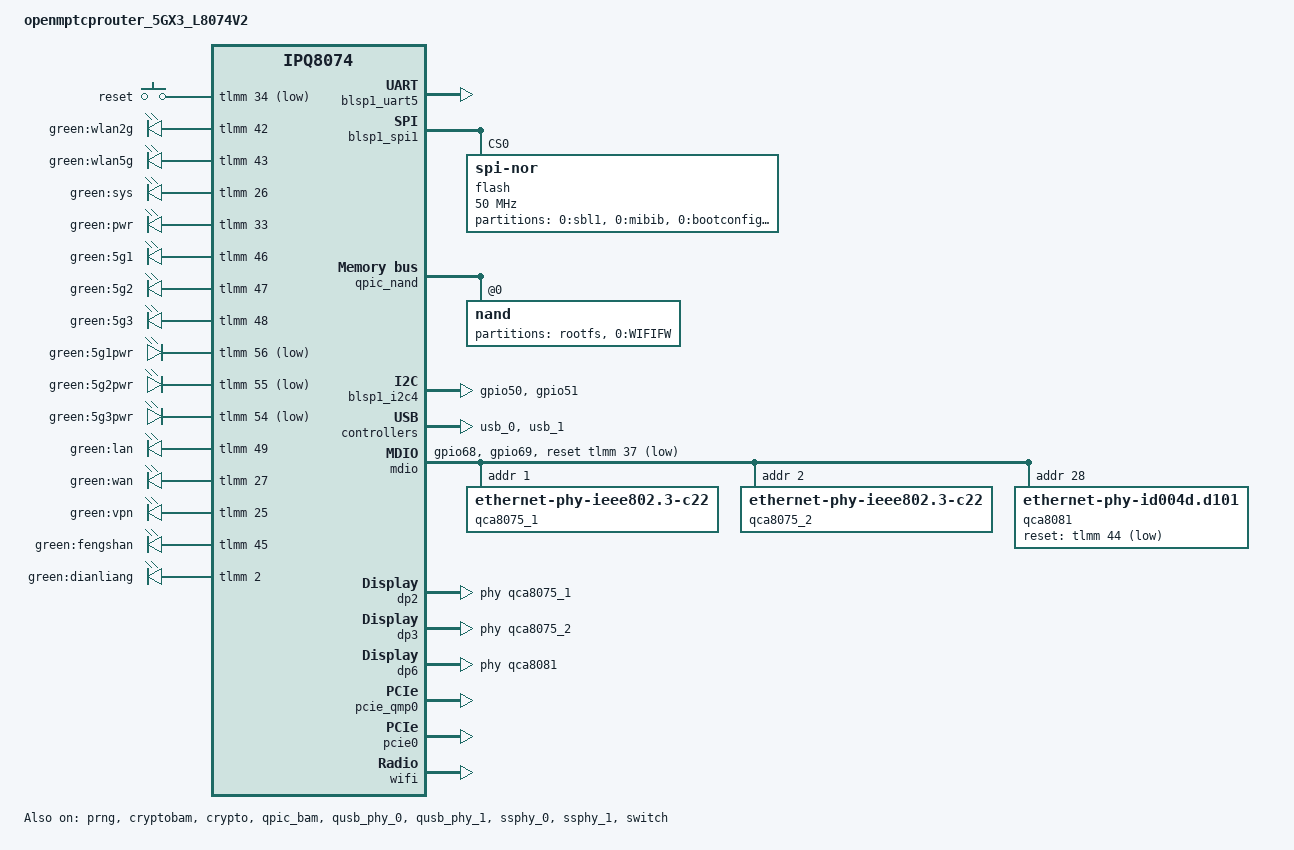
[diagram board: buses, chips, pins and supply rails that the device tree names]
// SPDX-License-Identifier: GPL-2.0-or-later OR MIT
/* Copyright 2023 Nokia */
/* 55860.com Power 175338101@qq.com */

/dts-v1/;

#include "ipq8074.dtsi"
#include "ipq8074-hk-cpu.dtsi"
#include "ipq8074-ess.dtsi"
#include "ipq8074-nss.dtsi"
#include <dt-bindings/gpio/gpio.h>
#include <dt-bindings/input/input.h>
#include <dt-bindings/leds/common.h>

/ {
	model = "openmptcprouter_5GX3_L8074V2";
	compatible = "pangu,l8072v2", "qcom,ipq8074";

	aliases {
		serial0 = &blsp1_uart5;
		led-boot = &pwr;
		led-failsafe = &sys;
		led-running = &pwr;
		led-upgrade = &sys;
		/* Aliases as required by u-boot to patch MAC addresses */
		ethernet0 = &dp2;
		ethernet1 = &dp3;
		ethernet2 = &dp6;
		label-mac-device = &dp2;
	};

	chosen {
		stdout-path = "serial0:115200n8";
		bootargs-append = " root=/dev/ubiblock0_1";
	};

	keys {
		compatible = "gpio-keys";

		reset {
			label = "reset";
			gpios = <&tlmm 34 GPIO_ACTIVE_LOW>;
			linux,code = <KEY_RESTART>;
		};
	};

	leds {
		compatible = "gpio-leds";

		wifi1 {
			label = "green:wlan2g";
			gpios = <&tlmm 42 GPIO_ACTIVE_HIGH>;
		};

		wifi0 {
			label = "green:wlan5g";
			gpios = <&tlmm 43 GPIO_ACTIVE_HIGH>;
		};

		sys: sys {
			label = "green:sys";
			gpios = <&tlmm 26 GPIO_ACTIVE_HIGH>;
		};

		pwr: pwr {
			label = "green:pwr";
			gpios = <&tlmm 33 GPIO_ACTIVE_HIGH>;
		};

		5g1 {
			label = "green:5g1";
			gpios = <&tlmm 46 GPIO_ACTIVE_HIGH>;
		};

		5g2 {
			label = "green:5g2";
			gpios = <&tlmm 47 GPIO_ACTIVE_HIGH>;
		};

		5g3 {
			label = "green:5g3";
			gpios = <&tlmm 48 GPIO_ACTIVE_HIGH>;
		};
		
		5g1pwr {
			label = "green:5g1pwr";
			gpios = <&tlmm 56 GPIO_ACTIVE_LOW>;
		};

		5g2pwr {
			label = "green:5g2pwr";
			gpios = <&tlmm 55 GPIO_ACTIVE_LOW>;
		};

		5g3pwr {
			label = "green:5g3pwr";
			gpios = <&tlmm 54 GPIO_ACTIVE_LOW>;
		};

		lan {
			label = "green:lan";
			gpios = <&tlmm 49 GPIO_ACTIVE_HIGH>;
		};

		wan {
			label = "green:wan";
			gpios = <&tlmm 27 GPIO_ACTIVE_HIGH>;
		};
		
		vpn {
			label = "green:vpn";
			gpios = <&tlmm 25 GPIO_ACTIVE_HIGH>;
		};

		fengshan {
			label = "green:fengshan";
			gpios = <&tlmm 45 GPIO_ACTIVE_HIGH>;
		};
		
		dianliang {
			label = "green:dianliang";
			gpios = <&tlmm 2 GPIO_ACTIVE_HIGH>;
		};
	};
};

&tlmm {
	mdio_pins: mdio-pins {
		mdc {
			pins = "gpio68";
			function = "mdc";
			drive-strength = <8>;
			bias-pull-up;
		};

		mdio {
			pins = "gpio69";
			function = "mdio";
			drive-strength = <8>;
			bias-pull-up;
		};
	};
};

&blsp1_uart5 {
	status = "okay";
};

&prng {
	status = "okay";
};

&cryptobam {
	status = "okay";
};

&crypto {
	status = "okay";
};

&qpic_bam {
	status = "okay";
};

&tlmm {
	mdio_pins: mdio-pins {
		mdc {
			pins = "gpio68";
			function = "mdc";
			drive-strength = <8>;
			bias-pull-up;
		};

		mdio {
			pins = "gpio69";
			function = "mdio";
			drive-strength = <8>;
			bias-pull-up;
		};
	};

	i2c_1_pins: i2c-1-state {
		pins = "gpio50", "gpio51";
		function = "blsp3_i2c";
		drive-strength = <8>;
		bias-disable;
	};

	button_pins: button_pins {
		reset_button {
			pins = "gpio34";
			function = "gpio";
			drive-strength = <8>;
			bias-pull-up;
		};
	};
};

&blsp1_spi1 {
	pinctrl-0 = <&spi_0_pins>;
	pinctrl-names = "default";
	cs-gpios = <0>;
	status = "okay";

	/*
	 * Bootloader will find the NAND DT node by the compatible and
	 * then "fixup" it by adding the partitions from the SMEM table
	 * using the legacy bindings thus making it impossible for us
	 * to change the partition table or utilize NVMEM for calibration.
	 * So add a dummy partitions node that bootloader will populate
	 * and set it as disabled so the kernel ignores it instead of
	 * printing warnings due to the broken way bootloader adds the
	 * partitions.
	 */
	partitions {
		status = "disabled";
	};

	flash@0 {
		#address-cells = <1>;
		#size-cells = <1>;
		reg = <0>;
		compatible = "jedec,spi-nor";
		spi-max-frequency = <50000000>;

		partitions {
			compatible = "fixed-partitions";
			#address-cells = <1>;
			#size-cells = <1>;

			partition@0 {
				label = "0:sbl1";
				reg = <0x0 0x50000>;
				read-only;
			};

			partition@50000 {
				label = "0:mibib";
				reg = <0x50000 0x10000>;
				read-only;
			};

			partition@60000 {
				label = "0:bootconfig";
				reg = <0x60000 0x20000>;
				read-only;
			};

			partition@80000 {
				label = "0:bootconfig1";
				reg = <0x80000 0x20000>;
				read-only;
			};

			partition@a0000 {
				label = "0:qsee";
				reg = <0xa0000 0x180000>;
				read-only;
			};

			partition@220000 {
				label = "0:qsee_1";
				reg = <0x220000 0x180000>;
				read-only;
			};

			partition@3a0000 {
				label = "0:devcfg";
				reg = <0x3a0000 0x10000>;
				read-only;
			};

			partition@3b0000 {
				label = "0:devcfg_1";
				reg = <0x3b0000 0x10000>;
				read-only;
			};

			partition@3c0000 {
				label = "0:apdp";
				reg = <0x3c0000 0x10000>;
				read-only;
			};

			partition@3d0000 {
				label = "0:apdp_1";
				reg = <0x3d0000 0x10000>;
				read-only;
			};

			partition@3e0000 {
				label = "0:rpm";
				reg = <0x3e0000 0x40000>;
				read-only;
			};

			partition@420000 {
				label = "0:rpm_1";
				reg = <0x420000 0x40000>;
				read-only;
			};

			partition@460000 {
				label = "0:cdt";
				reg = <0x460000 0x10000>;
				read-only;
			};

			partition@470000 {
				label = "0:cdt_1";
				reg = <0x470000 0x10000>;
				read-only;
			};

			partition@480000 {
				label = "0:appsblenv";
				reg = <0x480000 0x10000>;
			};

			partition@490000 {
				label = "0:appsbl";
				reg = <0x490000 0xb0000>;
			};

			partition@540000 {
				label = "0:appsbl_1";
				reg = <0x540000 0xb0000>;
			};

			partition@610000 {
				label = "0:art";
				reg = <0x5f0000 0x40000>;	
			};
			partition@630000 {
				label = "0:ethphyfw";
				reg = <0x630000 0x80000>;
			};			
		};
	};
};

&qpic_nand {
	status = "okay";
	
	/*
	 * Bootloader will find the NAND DT node by the compatible and
	 * then "fixup" it by adding the partitions from the SMEM table
	 * using the legacy bindings thus making it impossible for us
	 * to change the partition table or utilize NVMEM for calibration.
	 * So add a dummy partitions node that bootloader will populate
	 * and set it as disabled so the kernel ignores it instead of
	 * printing warnings due to the broken way bootloader adds the
	 * partitions.
	 */
	partitions {
		status = "disabled";
	};

	nand@0 {
		reg = <0>;
		nand-ecc-strength = <8>;
		nand-ecc-step-size = <512>;
		nand-bus-width = <8>;

		partitions {
			compatible = "fixed-partitions";
			#address-cells = <1>;
			#size-cells = <1>;

			partition@0 {
				label = "rootfs";
				reg = <0x0000000 0xf800000>;
			};

			partition@3400000 {
				label = "0:WIFIFW";
				reg = <0xf800000 0x800000>;
			};
		};
	};
};

&blsp1_i2c4 {
	pinctrl-0 = <&i2c_1_pins>;
	pinctrl-names = "default";
	status = "okay";
};

&qusb_phy_0 {
	status = "okay";
};

&qusb_phy_1 {
	status = "okay";
};

&ssphy_0 {
	status = "okay";
};

&ssphy_1 {
	status = "okay";
};

&usb_0 {
	status = "okay";
};

&usb_1 {
	status = "okay";
};

&dwc_0 {
	snps,parkmode-disable-ss-quirk;
};

&dwc_1 {
	snps,parkmode-disable-ss-quirk;
};

&mdio {
	status = "okay";
	pinctrl-0 = <&mdio_pins>;
	pinctrl-names = "default";
	reset-gpios = <&tlmm 37 GPIO_ACTIVE_LOW>;

	qca8075_1: ethernet-phy@1 {
		compatible = "ethernet-phy-ieee802.3-c22";
		reg = <1>;
	};

	qca8075_2: ethernet-phy@2 {
		compatible = "ethernet-phy-ieee802.3-c22";
		reg = <2>;
	};
	
	qca8081: ethernet-phy@28 {
		compatible = "ethernet-phy-id004d.d101";
		reg = <28>;
		reset-gpios = <&tlmm 44 GPIO_ACTIVE_LOW>;
	};
};

&switch {
	status = "okay";

	switch_cpu_bmp = <0x1>;  /* cpu port bitmap */
	switch_lan_bmp = <0x3e>; /* lan port bitmap */
	switch_wan_bmp = <0x40>; /* wan port bitmap */
	switch_mac_mode = <0x0>; /* mac mode for uniphy instance0*/
	switch_mac_mode1 = <0xff>; /* mac mode for uniphy instance1*/
	switch_mac_mode2 = <0x0f>; /* mac mode for uniphy instance2*/
	bm_tick_mode = <0>; /* bm tick mode */
	tm_tick_mode = <0>; /* tm tick mode */

	qcom,port_phyinfo {
		port@0 {
			port_id = <1>;
			phy_address = <0>;
		};
		port@1 {
			port_id = <2>;
			phy_address = <1>;
		};
		port@2 {
			port_id = <3>;
			phy_address = <2>;
		};
		port@3 {
			port_id = <4>;
			phy_address = <3>;
		};
		port@5 {
			port_id = <6>;
			phy_address = <28>;
			port_mac_sel = "QGMAC_PORT";
		};
	};
};

&edma {
	status = "okay";
};

&dp2 {
        status = "okay";
        phy-handle = <&qca8075_1>;
        label = "lan1";
};

&dp3 {
        status = "okay";
        phy-handle = <&qca8075_2>;
        label = "lan2";
};

&dp6 {
        status = "okay";
        phy-handle = <&qca8081>;
        label = "wan";
};

&pcie_qmp0 {
	status = "okay";
};

&pcie0 {
	status = "okay";

	perst-gpio = <&tlmm 58 GPIO_ACTIVE_LOW>;
};

&wifi {
	status = "okay";
	qcom,ath11k-calibration-variant = "Xiaomi-AX3600";	
};
